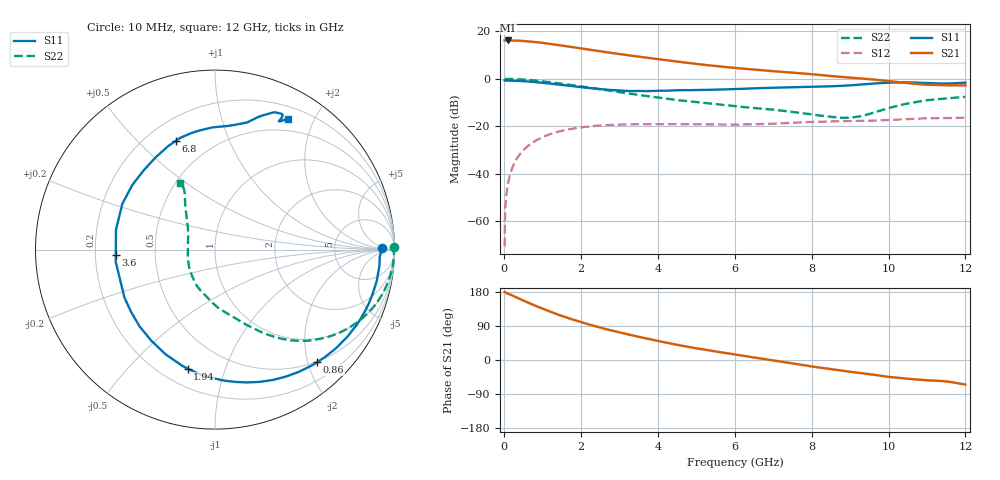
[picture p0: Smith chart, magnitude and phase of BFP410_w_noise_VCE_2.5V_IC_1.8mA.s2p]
! Infineon Technologies  Discrete & RF Semiconductors
! BFP410
! VCE =  2.5 V,  IC =  1.8 mA
! Common Emitter S-Parameters:  Nov 2015
# GHz  S  MA  R  50
!  f  S11  S21  S12  S22
! GHz  MAG  ANG  MAG  ANG  MAG  ANG  MAG  ANG
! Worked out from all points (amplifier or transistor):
!   243 points, 10 MHz to 12 GHz, reference 50 ohm
!   highest |S21| = 16.2 dB at 100 MHz (marker M1)
!   |S21| within 3 dB of that: start of sweep to 1.846 GHz
!   unconditionally stable (mu >= 1): 4.162 GHz to end of sweep
!   at 240 MHz: K = 0.04, MSG = 26.2 dB, |S12| = -36.3 dB
!   at 1.84 GHz: K = 0.36, MSG = 17.0 dB, |S12| = -20.8 dB
!   at 12 GHz: K = 1.17, MAG = 4.3 dB, |S12| = -16.3 dB
!   lowest NFmin = 0.81 dB at 900 MHz
!   S11 on the Smith chart (normalised r, x): 10 MHz: 27, +3; 860 MHz: 0.49, -2.17; 1.94 GHz: 0.30, -0.75; 3.6 GHz: 0.29, -0.03; 6.8 GHz: 0.32, +0.65; 12 GHz: 0.34, +1.64
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0.01  0.929 0.5  6.438 179.5  0.0003 79.8  1 0.9
0.02  0.9264 -0.7  6.425 179.1  0.0013 86.3  0.9925 0.1
0.03  0.9237 -1.3  6.419 178.5  0.0019 88.7  0.9941 -0.3
0.1  0.921 -5.4  6.443 175.4  0.0064 85.8  0.9968 -2.8
0.24  0.9147 -13.2  6.408 168.8  0.0153 82.6  0.9914 -6.9
0.44  0.8999 -24.4  6.322 159.7  0.0279 76.8  0.9746 -12.5
0.6  0.883 -33.3  6.189 152.2  0.0376 71.9  0.9553 -17.0
0.86  0.8469 -47.7  5.898 141.1  0.0522 64.1  0.9138 -23.8
1.3  0.7779 -71.4  5.316 123.5  0.0733 51.8  0.8296 -34.2
1.6  0.7298 -86.7  4.896 112.7  0.0841 44.3  0.7691 -40.2
1.94  0.6799 -103.0  4.446 101.8  0.0937 36.9  0.7055 -46.1
2.02  0.6689 -106.7  4.345 99.4  0.0956 35.3  0.691 -47.3
2.78  0.5833 -142.6  3.529 78.1  0.1075 21.4  0.5566 -58.2
3.6  0.5539 -176.8  2.864 58.9  0.111 10.9  0.4479 -67.9
4.1  0.5623 165.6  2.545 48.2  0.1116 6.2  0.3947 -74.0
5  0.5845 142.1  2.065 30.7  0.1104 -0.2  0.3243 -87.0
6.1  0.6143 121.1  1.673 13.0  0.1091 -3.8  0.2613 -101.7
6.8  0.6433 110.0  1.498 2.0  0.1125 -4.8  0.2319 -113.5
8.2  0.6851 87.9  1.209 -19.9  0.1252 -10.8  0.1692 -149.6
9  0.7303 75.9  1.062 -31.0  0.1286 -14.3  0.1522 172.0
10.2  0.838 65.3  0.862 -46.5  0.1385 -18.4  0.267 127.3
12  0.8335 61.0  0.728 -64.7  0.1524 -30.4  0.4184 118.0
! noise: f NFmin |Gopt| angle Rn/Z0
0.45  0.85  0.54  8  0.31
0.9  0.81  0.52  22  0.28
1.8  1.05  0.41  56  0.24
2.4  1.11  0.38  66  0.23
5.5  2.29  0.37  -144  0.22
10  4.11  0.71  -57  2.47
